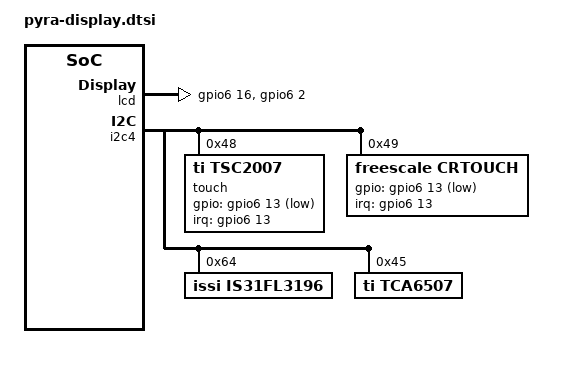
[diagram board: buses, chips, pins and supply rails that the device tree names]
/*
 * Copyright (C) 2015 OpenPandora - http://www.pyra-handheld.com/
 *
 * This program is free software; you can redistribute it and/or modify
 * it under the terms of the GNU General Public License version 2 as
 * published by the Free Software Foundation.
 */

/* LCD panel - MIPI */

&mipi_display_pins {
	pinctrl-single,pins = <
		OMAP5_IOPAD(0x124, PIN_OUTPUT_PULLUP | MUX_MODE6)	/* 0x124:[0:15] gpio6_162 - enable panel DC/DC */
		OMAP5_IOPAD(0x10e, PIN_OUTPUT_PULLDOWN | MUX_MODE6)	/* 0x10c:[31:16] gpio6_176 - panel reset */
		>;
};

&lcd {
#if 0
	compatible = "boe,btl507212-w677l";
	gpios = <&gpio6 16 0>;	/* goip6_176 = panel reset */
#else
	compatible = "mipi,debug";
	gpios = <&gpio6 16 0>,	/* goip6_176 = panel reset */
		<&gpio6 2 0>;	/* gpio6_162 = enable ssd and disable DCS bypass */
#endif
};

#if 0

/* splice ssd2858 encoder into display pipeline */

/ {
	rotator: ssd2858 {
		compatible = "solomon-systech,ssd2858";
		gpios = <&gpio6 2 0>;	/* gpio6_162 = enable ssd and disable DCS bypass */

		xtal-freq-mhz = <24000000>;
		rotate = <270>;

		ports {
			#address-cells = <1>;
			#size-cells = <0>;

			port@0 {
				reg = <0>;
				ssd_in: endpoint@0 {
					remote-endpoint = <&dsi1_out_ep>;
				};
			};

			port@1 {
				reg = <0>;
				ssd_out: endpoint@0 {
					remote-endpoint = <&lcd_in>;
				};
			};
		};
	};
};

&lcd_in {
	remote-endpoint = <&ssd_out>;
};

&dsi1_out_ep {
	remote-endpoint = <&ssd_in>;
};

#endif

/* register devices connected to Panel-I2C */
&i2c4 {
	/* touchscreen */
	touch: tsc2007@48 {
		compatible = "ti,tsc2007";
		reg = <0x48>;
		pinctrl-names = "default";
/* FIXME:		pinctrl-0 = <&penirq_pins>; */
		interrupt-parent = <&gpio6>;
		interrupts = <13 IRQ_TYPE_EDGE_FALLING>;	/* gpio6_173 falling edge */
		gpios = <&gpio6 13 GPIO_ACTIVE_LOW>;	/* gpio6_173 active low */
		/* rotated screen */
		touchscreen-size-x = <1280>;
		touchscreen-size-y = <720>;
		touchscreen-max-pressure = <1000>;
		touchscreen-fuzz-x = <5>;
		touchscreen-fuzz-y = <5>;
		touchscreen-fuzz-pressure = <50>;
		touchscreen-swapped-x-y;
		touchscreen-inverted-x;
		touchscreen-inverted-y;
		ti,min-x = <50>;
		ti,max-x = <3900>;
		ti,min-y = <50>;
		ti,max-y = <3900>;
		ti,max-rt = <2000>;
		ti,x-plate-ohms = <550>;
	};

	crtouch@49 {
		compatible = "freescale,crtouch";
		reg = <0x49>;
		interrupt-parent = <&gpio6>;
		interrupts = <13 IRQ_TYPE_EDGE_FALLING>;	/* gpio6_173 falling edge */
		gpios = <&gpio6 13 1>;	/* gpio6_173 active low */
		/* more paramters tbd. */
	};

	/* leds */
	is31fl3196@64 {
		compatible = "issi,is31fl3196";
		#address-cells = <1>;
		#size-cells = <0>;
		reg = <0x64>;

		display_led0: red_bottom@0 {
			label = "logo:red:bottom";
			reg = <0>;
			linux,default-trigger = "mmc0";
		};

		display_led1: green_bottom@1 {
			label = "logo:green:bottom";
			reg = <1>;
			linux,default-trigger = "heartbeat";
		};

		display_led2: blue_bottom@2 {
			label = "logo:blue:bottom";
			reg = <2>;
			linux,default-trigger = "timer";
		};

		display_led3: red_top@3 {
			label = "logo:red:top";
			reg = <3>;
			linux,default-trigger = "default-on";
		};

		display_led4: green_top@4 {
			label = "logo:green:top";
			reg = <4>;
			linux,default-trigger = "timer";
		};

		display_led5: blue_top@5 {
			label = "logo:blue:top";
			reg = <5>;
			linux,default-trigger = "mmc0";
		};
	};

	tca6507@45 { /* historical for V4 display boards */
		compatible = "ti,tca6507";
		#address-cells = <1>;
		#size-cells = <0>;
		reg = <0x45>;

		/* unused */
		/* gpio-controller;
		#gpio-cells = <2>; */

		red_aux@0 {
			label = "display::led-0";
			reg = <0x0>;
			linux,default-trigger = "mmc0";
		};

		green_aux@1 {
			label = "display::led-1";
			reg = <0x1>;
			linux,default-trigger = "heartbeat";
		};

		blue_aux@2 {
			label = "display::led-2";
			reg = <0x2>;
			linux,default-trigger = "timer";
		};

		set1@3 {
			label = "display::led-3";
			reg = <0x3>;
			linux,default-trigger = "default-on";
		};

		set2@4 {
			label = "display::led-4";
			reg = <0x4>;
			linux,default-trigger = "timer";
		};

		set3@5 {
			label = "display::led-5";
			reg = <0x5>;
			linux,default-trigger = "mmc0";
		};

		set4@6 {
			label = "display::led-6";
			reg = <0x6>;
			linux,default-trigger = "heartbeat";
		};
	};

};
